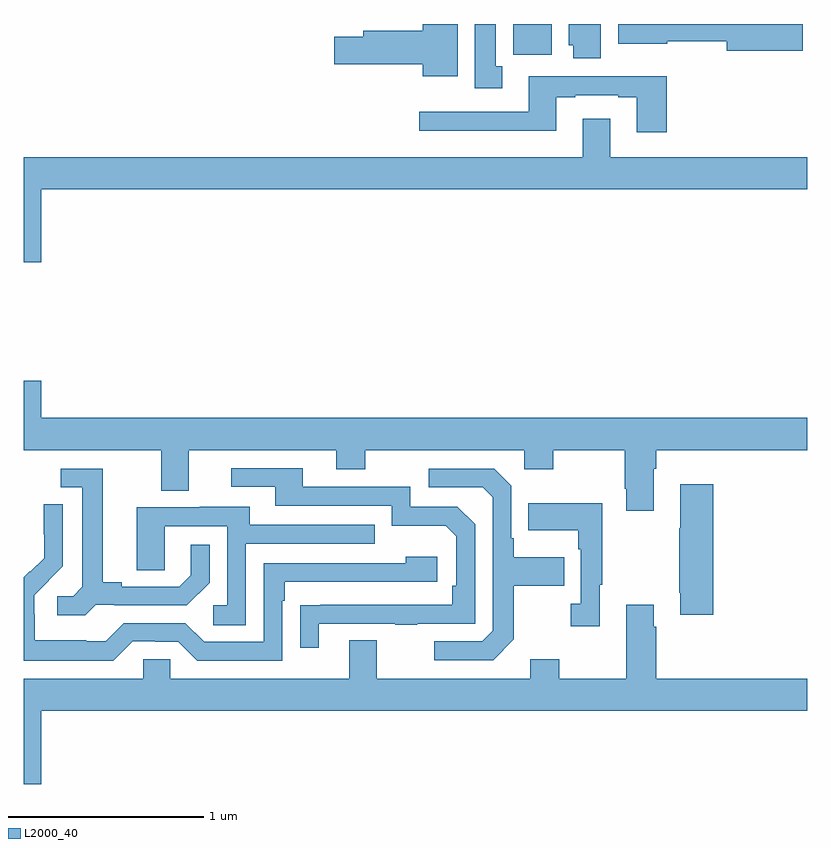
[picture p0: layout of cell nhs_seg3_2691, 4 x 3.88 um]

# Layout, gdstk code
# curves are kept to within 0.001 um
import gdstk
lib = gdstk.Library(unit=1e-6, precision=1e-09)
def R(c, l, rs):  # rectangles x0, y0, x1, y1
    for r in rs: c.add(gdstk.rectangle(r[:2], r[2:], *l))
def P(c, l, *ps):  # polygons
    for p in ps: c.add(gdstk.Polygon(p, *l))
L2000_40 = (2000, 40)

nhs_seg3_2691 = lib.new_cell('nhs_seg3_2691')
R(nhs_seg3_2691, L2000_40, [(251.499,728.244,251.695,728.4)])
P(nhs_seg3_2691, L2000_40, [(251.215,728.4),(251.036,728.4),(251.036,728.366),(250.733,728.366),(250.733,728.336),(250.584,728.336),(250.584,728.194),(251.036,728.194),(251.036,728.132),(251.215,728.132)],
  [(252.979,728.4),(252.035,728.4),(252.035,728.3),(252.286,728.3),(252.286,728.311),(252.59,728.311),(252.59,728.264),(252.979,728.264)],
  [(251.947,728.4),(251.783,728.4),(251.783,728.292),(251.807,728.292),(251.807,728.225),(251.947,728.225)],
  [(251.443,728.185),(251.41,728.185),(251.41,728.4),(251.303,728.4),(251.303,728.073),(251.443,728.073)],
  [(252.284,728.134),(252.039,728.134),(252.039,728.133),(251.579,728.133),(251.579,727.953),(251.019,727.953),(251.019,727.856),(251.719,727.856),(251.719,728.025),(251.815,728.025),(251.815,728.037),(252.035,728.037),(252.035,728.025),(252.131,728.025),(252.131,727.848),(252.284,727.848)],
  [(249.088,727.556),(253,727.556),(253,727.72),(251.995,727.72),(251.995,727.915),(251.855,727.915),(251.855,727.72),(249,727.72),(249,727.182),(249.088,727.182)],
  [(252.217,726.128),(252.23,726.128),(252.23,726.224),(253,726.224),(253,726.388),(249.088,726.388),(249.088,726.577),(249,726.577),(249,726.224),(249.701,726.224),(249.701,726.016),(249.841,726.016),(249.841,726.224),(250.595,726.224),(250.595,726.125),(250.743,726.125),(250.743,726.224),(251.556,726.224),(251.556,726.125),(251.703,726.125),(251.703,726.224),(252.07,726.224),(252.07,726.025),(252.077,726.025),(252.077,725.913),(252.217,725.913)],
  [(250.507,725.337),(250.897,725.337),(250.897,725.332),(251.009,725.332),(251.009,725.337),(251.304,725.337),(251.304,725.844),(251.214,725.934),(250.974,725.934),(250.974,726.036),(250.423,726.036),(250.423,726.132),(250.059,726.132),(250.059,726.036),(250.283,726.036),(250.283,725.94),(250.878,725.94),(250.878,725.837),(251.155,725.837),(251.208,725.784),(251.208,725.53),(251.188,725.53),(251.188,725.433),(250.411,725.432),(250.411,725.214),(250.507,725.214)],
  [(249.366,725.433),(249.46,725.433),(249.46,725.43),(249.832,725.43),(249.948,725.546),(249.948,725.74),(249.851,725.74),(249.851,725.583),(249.794,725.526),(249.499,725.526),(249.499,725.549),(249.403,725.549),(249.403,726.129),(249.189,726.129),(249.189,726.033),(249.299,726.033),(249.299,725.525),(249.252,725.478),(249.171,725.478),(249.171,725.381),(249.314,725.381)],
  [(251.503,725.257),(251.503,725.53),(251.759,725.53),(251.759,725.677),(251.503,725.677),(251.503,725.773),(251.49,725.773),(251.49,726.042),(251.403,726.129),(251.067,726.129),(251.067,726.033),(251.343,726.033),(251.394,725.982),(251.394,725.301),(251.34,725.247),(251.097,725.247),(251.097,725.151),(251.397,725.151)],
  [(252.521,726.049),(252.353,726.049),(252.353,725.825),(252.346,725.825),(252.346,725.494),(252.353,725.494),(252.353,725.382),(252.521,725.382)],
  [(251.941,725.537),(251.953,725.537),(251.953,725.953),(251.575,725.953),(251.575,725.813),(251.832,725.813),(251.832,725.717),(251.844,725.717),(251.844,725.438),(251.793,725.438),(251.793,725.325),(251.941,725.325)],
  [(249.555,725.247),(249.671,725.247),(249.671,725.244),(249.789,725.244),(249.885,725.148),(250.32,725.148),(250.32,725.453),(250.333,725.453),(250.333,725.55),(251.11,725.55),(251.11,725.68),(250.949,725.68),(250.949,725.646),(250.224,725.646),(250.224,725.244),(249.921,725.244),(249.825,725.34),(249.51,725.34),(249.417,725.247),(249.317,725.247),(249.317,725.251),(249.054,725.251),(249.054,725.385),(249.052,725.385),(249.052,725.482),(249.198,725.63),(249.198,725.948),(249.102,725.948),(249.102,725.794),(249.104,725.794),(249.104,725.672),(249.033,725.601),(249.03,725.604),(249,725.574),(249,725.147),(249.455,725.147)],
  [(250.134,725.745),(250.793,725.745),(250.793,725.841),(250.153,725.841),(250.153,725.935),(249.899,725.935),(249.899,725.931),(249.575,725.931),(249.575,725.611),(249.72,725.611),(249.72,725.835),(250.038,725.835),(250.038,725.43),(249.966,725.43),(249.966,725.329),(250.134,725.329)],
  [(249.088,724.892),(253,724.892),(253,725.056),(252.23,725.056),(252.23,725.321),(252.217,725.321),(252.217,725.434),(252.077,725.434),(252.077,725.056),(251.733,725.056),(251.733,725.155),(251.585,725.155),(251.585,725.056),(250.801,725.056),(250.801,725.251),(250.661,725.251),(250.661,725.056),(249.747,725.056),(249.747,725.154),(249.609,725.154),(249.609,725.056),(249,725.056),(249,724.518),(249.088,724.518)])

lib.write_gds('nhs_seg3_2691.gds')
